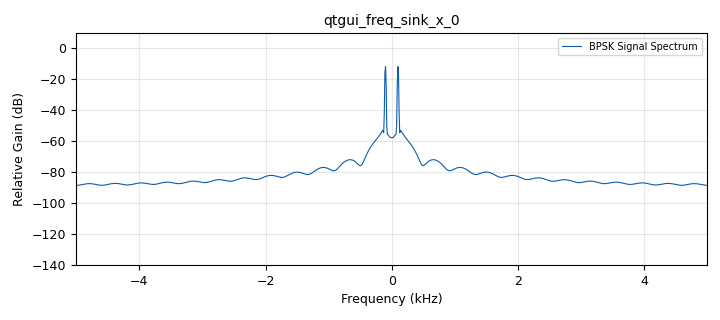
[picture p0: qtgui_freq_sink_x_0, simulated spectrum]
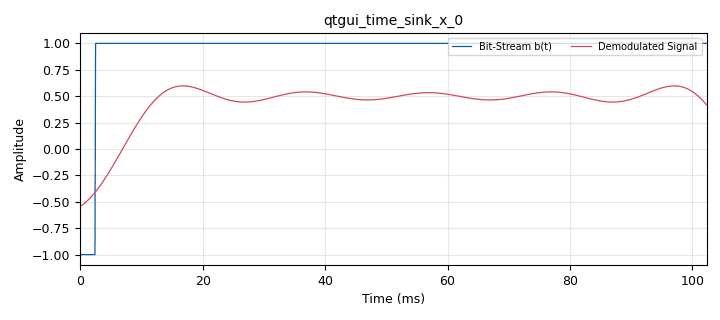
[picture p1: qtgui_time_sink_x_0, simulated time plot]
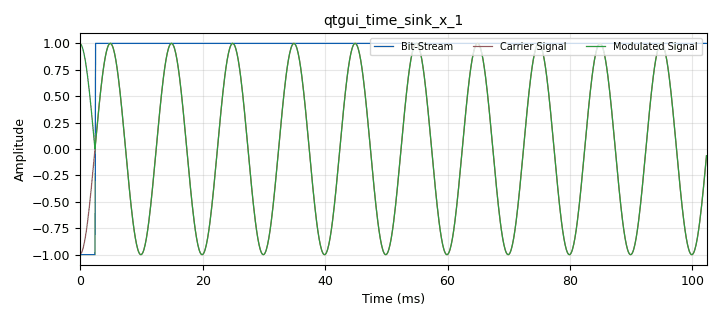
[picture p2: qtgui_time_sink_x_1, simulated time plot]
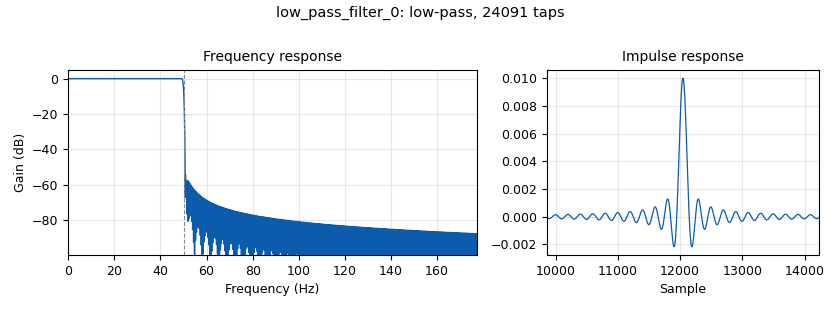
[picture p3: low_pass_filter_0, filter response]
options:
  parameters:
    author: KIIT
    generate_options: qt_gui
    id: BPSK
    output_language: python
    title: Not titled yet
  states: {}

blocks:
- name: samp_rate
  id: variable
  parameters:
    value: '10000'
  states: {}
- name: analog_sig_source_x_0
  id: analog_sig_source_x
  parameters:
    amp: '1'
    freq: '100'
    offset: '0'
    phase: '0'
    samp_rate: samp_rate
    type: float
    waveform: analog.GR_SIN_WAVE
  states: {}
- name: analog_sig_source_x_2
  id: analog_sig_source_x
  parameters:
    amp: '2'
    freq: '5'
    offset: '-1'
    phase: '0'
    samp_rate: samp_rate
    type: float
    waveform: analog.GR_SQR_WAVE
  states: {}
- name: analog_sig_source_x_3
  id: analog_sig_source_x
  parameters:
    amp: '1'
    freq: '100'
    offset: '0'
    phase: '0'
    samp_rate: samp_rate
    type: float
    waveform: analog.GR_SIN_WAVE
  states: {}
- name: blocks_multiply_xx_0
  id: blocks_multiply_xx
  parameters:
    type: float
  states: {}
- name: blocks_multiply_xx_2
  id: blocks_multiply_xx
  parameters:
    type: float
  states: {}
- name: low_pass_filter_0
  id: low_pass_filter
  parameters:
    cutoff_freq: '50'
    decim: '1'
    gain: '1'
    samp_rate: samp_rate
    type: fir_filter_fff
    width: '1'
    win: firdes.WIN_HAMMING
  states: {}
- name: qtgui_freq_sink_x_0
  id: qtgui_freq_sink_x
  parameters:
    bw: samp_rate
    ctrlpanel: 'True'
    fc: '0'
    fftsize: '1024'
    label1: BPSK Signal Spectrum
    type: float
    wintype: firdes.WIN_HAMMING
  states: {}
- name: qtgui_time_sink_x_0
  id: qtgui_time_sink_x
  parameters:
    autoscale: 'True'
    ctrlpanel: 'True'
    grid: 'True'
    label1: Bit-Stream b(t)
    label2: Demodulated Signal
    nconnections: '2'
    size: '1024'
    srate: samp_rate
    type: float
  states: {}
- name: qtgui_time_sink_x_1
  id: qtgui_time_sink_x
  parameters:
    autoscale: 'True'
    ctrlpanel: 'True'
    grid: 'True'
    label1: Bit-Stream
    label2: Carrier Signal
    label3: Modulated Signal
    nconnections: '3'
    size: '1024'
    srate: samp_rate
    type: float
  states: {}

connections:
- [analog_sig_source_x_0, '0', blocks_multiply_xx_0, '1']
- [analog_sig_source_x_0, '0', qtgui_time_sink_x_1, '1']
- [analog_sig_source_x_2, '0', blocks_multiply_xx_0, '0']
- [analog_sig_source_x_2, '0', qtgui_time_sink_x_0, '0']
- [analog_sig_source_x_2, '0', qtgui_time_sink_x_1, '0']
- [analog_sig_source_x_3, '0', blocks_multiply_xx_2, '1']
- [blocks_multiply_xx_0, '0', blocks_multiply_xx_2, '0']
- [blocks_multiply_xx_0, '0', qtgui_freq_sink_x_0, '0']
- [blocks_multiply_xx_0, '0', qtgui_time_sink_x_1, '2']
- [blocks_multiply_xx_2, '0', low_pass_filter_0, '0']
- [low_pass_filter_0, '0', qtgui_time_sink_x_0, '1']

metadata:
  file_format: 1
